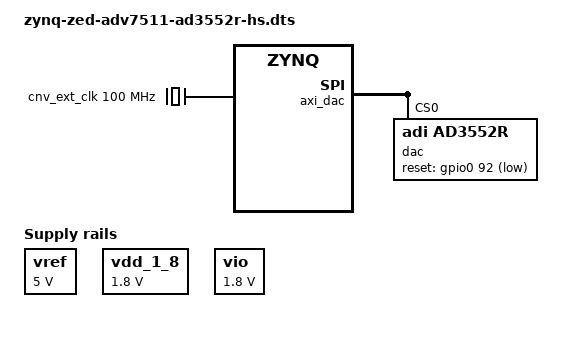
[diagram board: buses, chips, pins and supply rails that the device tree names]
// SPDX-License-Identifier: GPL-2.0
/*
 * Analog Devices AD4630-24
 *
 * hdl_project: <ad4630_fmc/zed>
 * board_revision: <B>
 *
 * Copyright (C) 2022 Analog Devices Inc.
 */
/dts-v1/;

#include "zynq-zed.dtsi"
#include "zynq-zed-adv7511.dtsi"
#include <dt-bindings/gpio/gpio.h>
#include <dt-bindings/pwm/pwm.h>

/ {
	vref: regulator-vref {
		compatible = "regulator-fixed";
		regulator-name = "fixed-supply";
		regulator-min-microvolt = <5000000>;
		regulator-max-microvolt = <5000000>;
		regulator-always-on;
	};

	vdd_1_8: regulator-vdd-1-8 {
		compatible = "regulator-fixed";
		regulator-name = "fixed-supply";
		regulator-min-microvolt = <1800000>;
		regulator-max-microvolt = <1800000>;
		regulator-always-on;
	};

	vio: regulator-vio {
		compatible = "regulator-fixed";
		regulator-name = "fixed-supply";
		regulator-min-microvolt = <1800000>;
		regulator-max-microvolt = <1800000>;
		regulator-always-on;
	};

	clocks {
		cnv_ext_clk: ext-clk {
			#clock-cells = <0x0>;
			compatible = "fixed-clock";
			clock-frequency = <100000000>;
			clock-output-names = "cnv_ext_clk";
		};
	};
};

&fpga_axi {
	ref_clk: clock-controller@44B00000 {
		compatible = "adi,axi-clkgen-2.00.a";
		reg = <0x44B00000 0x10000>;
		#clock-cells = <0>;
		clocks = <&clkc 15>, <&clkc 15>;
		clock-names = "s_axi_aclk", "clkin1";
		clock-output-names = "ref_clk";
	};

	dac_tx_dma: dma-controller@44a30000 {
		compatible = "adi,axi-dmac-1.00.a";
		reg = <0x44a30000 0x10000>;
		#dma-cells = <1>;
		interrupt-parent = <&intc>;
		interrupts = <0 57 IRQ_TYPE_LEVEL_HIGH>;
		clocks = <&clkc 15>;

		adi,channels {
			#size-cells = <0>;
			#address-cells = <1>;

			dma-channel@0 {
				reg = <0>;
				adi,source-bus-width = <32>;
				adi,source-bus-type = <0>;
				adi,destination-bus-width = <32>;
				adi,destination-bus-type = <1>;
			};
		};
	};

	axi_dac: spi@44a70000 {
		compatible = "adi,axi-ad3552r";
		reg = <0x44a70000 0x1000>;
		dmas = <&dac_tx_dma 0>;
		dma-names = "tx";
		#io-backend-cells = <0>;
		clocks = <&clkc 15>, <&ref_clk>;
		clock-names = "s_axi_aclk", "dac_clk";

		#address-cells = <1>;
		#size-cells = <0>;

		dac@0 {
			reg = <0>;
			compatible = "adi,ad3552r";
			reset-gpios = <&gpio0 92 GPIO_ACTIVE_LOW>;
			io-backends = <&axi_dac>;

			spi-3-wire;
			spi-tx-bus-width = <4>;
			spi-rx-bus-width = <4>;

			#address-cells = <1>;
			#size-cells = <0>;

			channel@0 {
				reg = <0>;
				adi,output-range-microvolt = <0 5000000>;
			};

			channel@1 {
				reg = <1>;
				adi,output-range-microvolt = <0 5000000>;
			};
		};
	};
};
